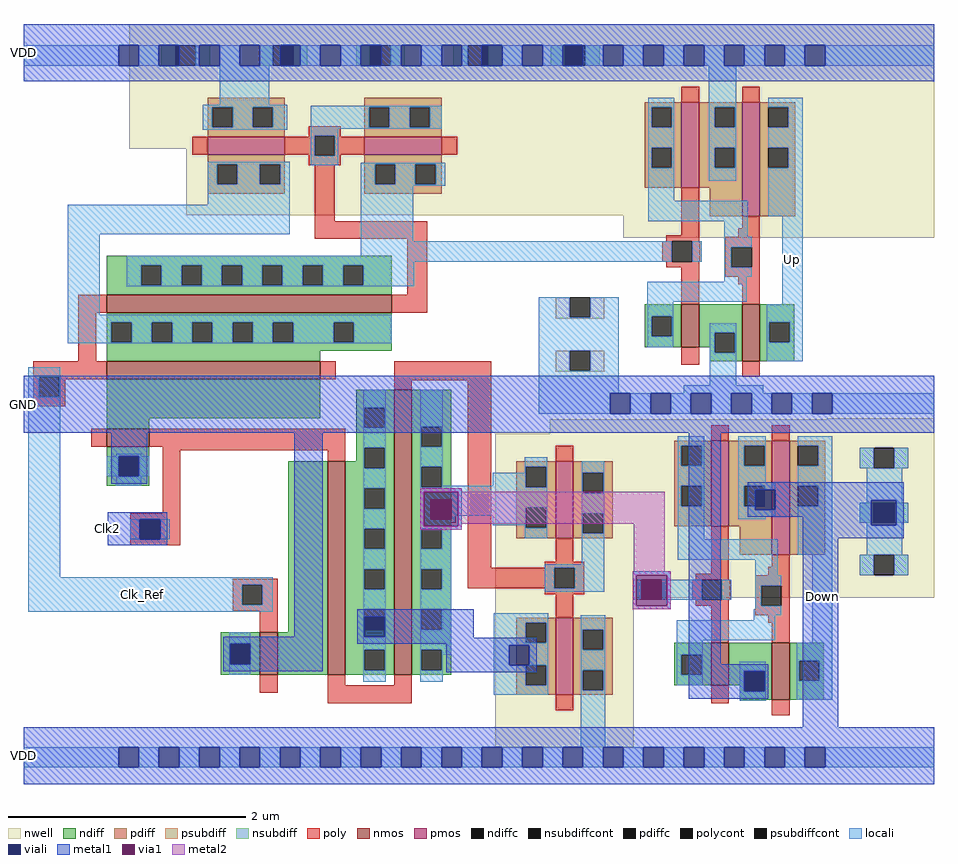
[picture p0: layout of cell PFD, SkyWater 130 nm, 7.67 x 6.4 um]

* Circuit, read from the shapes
.subckt PFD Clk_Ref Up Down Clk2 GND VDD
XM1 n1 Clk2 GND GND sky130_fd_pr__nfet_01v8 w=0.36 l=0.15
XM2 n2 Clk_Ref n1 GND sky130_fd_pr__nfet_01v8 w=1.8 l=0.15
XM3 n3 Clk_Ref n2 GND sky130_fd_pr__nfet_01v8 w=2.4 l=0.15
XM4 n4 Clk_Ref GND GND sky130_fd_pr__nfet_01v8 w=0.36 l=0.15
XM5 n5 Clk2 n4 GND sky130_fd_pr__nfet_01v8 w=1.8 l=0.15
XM6 n6 Clk2 n5 GND sky130_fd_pr__nfet_01v8 w=2.4 l=0.15
XM7 GND n3 n7 GND sky130_fd_pr__nfet_01v8 w=0.36 l=0.15
XM8 GND n6 n8 GND sky130_fd_pr__nfet_01v8 w=0.36 l=0.15
XM9 Up n7 GND GND sky130_fd_pr__nfet_01v8 w=0.48 l=0.15
XM10 Down n8 GND GND sky130_fd_pr__nfet_01v8 w=0.48 l=0.15
XM11 VDD Clk_Ref n2 VDD sky130_fd_pr__pfet_01v8 w=0.65 l=0.15
XM12 Clk_Ref Clk_Ref n3 VDD sky130_fd_pr__pfet_01v8 w=0.65 l=0.15
XM13 VDD Clk2 n5 VDD sky130_fd_pr__pfet_01v8 w=0.65 l=0.15
XM14 Clk2 Clk2 n6 VDD sky130_fd_pr__pfet_01v8 w=0.65 l=0.15
XM15 VDD n3 n7 VDD sky130_fd_pr__pfet_01v8 w=0.72 l=0.15
XM16 VDD n6 n8 VDD sky130_fd_pr__pfet_01v8 w=0.72 l=0.15
XM17 Up n7 VDD VDD sky130_fd_pr__pfet_01v8 w=0.96 l=0.15
XM18 Down n8 VDD VDD sky130_fd_pr__pfet_01v8 w=0.96 l=0.15
.ends

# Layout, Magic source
magic
tech sky130A
<< nwell >>
rect 89 535 767 640
rect 137 479 767 535
rect 505 460 767 479
rect 677 307 767 308
rect 443 295 767 307
rect 397 157 767 295
rect 397 31 514 157
<< nmos >>
rect 70 397 310 412
rect 554 368 569 404
rect 70 341 250 356
rect 605 356 620 404
rect 70 284 106 299
rect 199 92 214 128
rect 256 92 271 272
rect 312 92 327 332
rect 579 83 594 119
rect 630 71 645 119
<< pmos >>
rect 155 530 220 545
rect 287 530 352 545
rect 554 502 569 574
rect 605 478 620 574
rect 448 207 463 272
rect 579 217 594 289
rect 630 193 645 289
rect 448 75 463 140
<< ndiff >>
rect 70 437 310 445
rect 70 420 99 437
rect 116 420 133 437
rect 150 420 167 437
rect 184 420 201 437
rect 218 420 235 437
rect 252 420 269 437
rect 286 420 310 437
rect 70 412 310 420
rect 70 389 310 397
rect 523 394 554 404
rect 70 372 74 389
rect 91 372 108 389
rect 125 372 142 389
rect 159 372 176 389
rect 193 372 210 389
rect 227 372 261 389
rect 278 372 310 389
rect 70 365 310 372
rect 523 377 529 394
rect 546 377 554 394
rect 523 368 554 377
rect 569 380 605 404
rect 569 368 582 380
rect 70 356 250 365
rect 70 308 250 341
rect 578 363 582 368
rect 599 363 605 380
rect 578 356 605 363
rect 620 389 649 404
rect 620 372 628 389
rect 645 372 649 389
rect 620 356 649 372
rect 280 317 312 332
rect 70 299 106 308
rect 280 300 287 317
rect 304 300 312 317
rect 70 276 106 284
rect 70 259 80 276
rect 97 259 106 276
rect 70 251 106 259
rect 280 283 312 300
rect 280 272 287 283
rect 223 128 256 272
rect 166 118 199 128
rect 166 101 174 118
rect 191 101 199 118
rect 166 92 199 101
rect 214 92 256 128
rect 271 266 287 272
rect 304 266 312 283
rect 271 249 312 266
rect 271 232 287 249
rect 304 232 312 249
rect 271 215 312 232
rect 271 198 287 215
rect 304 198 312 215
rect 271 181 312 198
rect 271 164 287 181
rect 304 164 312 181
rect 271 147 312 164
rect 271 130 287 147
rect 304 130 312 147
rect 271 113 312 130
rect 271 96 287 113
rect 304 96 312 113
rect 271 92 312 96
rect 327 301 360 332
rect 327 284 335 301
rect 352 284 360 301
rect 327 267 360 284
rect 327 250 335 267
rect 352 250 360 267
rect 327 215 360 250
rect 327 198 335 215
rect 352 198 360 215
rect 327 181 360 198
rect 327 164 335 181
rect 352 164 360 181
rect 327 147 360 164
rect 327 130 335 147
rect 352 130 360 147
rect 327 113 360 130
rect 327 96 335 113
rect 352 96 360 113
rect 327 92 360 96
rect 548 109 579 119
rect 548 92 554 109
rect 571 92 579 109
rect 548 83 579 92
rect 594 95 630 119
rect 594 83 607 95
rect 603 78 607 83
rect 624 78 630 95
rect 603 71 630 78
rect 645 104 674 119
rect 645 87 653 104
rect 670 87 674 104
rect 645 71 674 87
<< pdiff >>
rect 155 570 220 578
rect 155 553 159 570
rect 176 553 193 570
rect 210 553 220 570
rect 287 570 352 578
rect 155 545 220 553
rect 155 522 220 530
rect 155 505 163 522
rect 180 505 199 522
rect 216 505 220 522
rect 287 553 291 570
rect 308 553 325 570
rect 342 553 352 570
rect 287 545 352 553
rect 523 570 554 574
rect 523 553 529 570
rect 546 553 554 570
rect 523 536 554 553
rect 287 522 352 530
rect 155 497 220 505
rect 287 505 296 522
rect 313 505 330 522
rect 347 505 352 522
rect 287 497 352 505
rect 523 519 529 536
rect 546 519 554 536
rect 523 502 554 519
rect 569 570 605 574
rect 569 553 582 570
rect 599 553 605 570
rect 569 536 605 553
rect 569 519 582 536
rect 599 519 605 536
rect 569 502 605 519
rect 578 478 605 502
rect 620 570 650 574
rect 620 553 627 570
rect 644 553 650 570
rect 620 536 650 553
rect 620 519 627 536
rect 644 519 650 536
rect 620 478 650 519
rect 548 285 579 289
rect 415 267 448 272
rect 415 250 423 267
rect 440 250 448 267
rect 415 233 448 250
rect 415 216 423 233
rect 440 216 448 233
rect 415 207 448 216
rect 463 262 496 272
rect 463 245 471 262
rect 488 245 496 262
rect 463 228 496 245
rect 463 211 471 228
rect 488 211 496 228
rect 548 268 554 285
rect 571 268 579 285
rect 548 251 579 268
rect 548 234 554 251
rect 571 234 579 251
rect 548 217 579 234
rect 594 285 630 289
rect 594 268 607 285
rect 624 268 630 285
rect 594 251 630 268
rect 594 234 607 251
rect 624 234 630 251
rect 594 217 630 234
rect 463 207 496 211
rect 603 193 630 217
rect 645 285 675 289
rect 645 268 652 285
rect 669 268 675 285
rect 645 251 675 268
rect 645 234 652 251
rect 669 234 675 251
rect 645 193 675 234
rect 415 136 448 140
rect 415 119 423 136
rect 440 119 448 136
rect 415 100 448 119
rect 415 83 423 100
rect 440 83 448 100
rect 415 75 448 83
rect 463 130 496 140
rect 463 113 471 130
rect 488 113 496 130
rect 463 96 496 113
rect 463 79 471 96
rect 488 79 496 96
rect 463 75 496 79
<< ndiffc >>
rect 99 420 116 437
rect 133 420 150 437
rect 167 420 184 437
rect 201 420 218 437
rect 235 420 252 437
rect 269 420 286 437
rect 74 372 91 389
rect 108 372 125 389
rect 142 372 159 389
rect 176 372 193 389
rect 210 372 227 389
rect 261 372 278 389
rect 529 377 546 394
rect 582 363 599 380
rect 628 372 645 389
rect 287 300 304 317
rect 80 259 97 276
rect 174 101 191 118
rect 287 266 304 283
rect 287 232 304 249
rect 287 198 304 215
rect 287 164 304 181
rect 287 130 304 147
rect 287 96 304 113
rect 335 284 352 301
rect 335 250 352 267
rect 335 198 352 215
rect 335 164 352 181
rect 335 130 352 147
rect 335 96 352 113
rect 554 92 571 109
rect 607 78 624 95
rect 653 87 670 104
<< pdiffc >>
rect 159 553 176 570
rect 193 553 210 570
rect 163 505 180 522
rect 199 505 216 522
rect 291 553 308 570
rect 325 553 342 570
rect 529 553 546 570
rect 296 505 313 522
rect 330 505 347 522
rect 529 519 546 536
rect 582 553 599 570
rect 582 519 599 536
rect 627 553 644 570
rect 627 519 644 536
rect 423 250 440 267
rect 423 216 440 233
rect 471 245 488 262
rect 471 211 488 228
rect 554 268 571 285
rect 554 234 571 251
rect 607 268 624 285
rect 607 234 624 251
rect 652 268 669 285
rect 652 234 669 251
rect 423 119 440 136
rect 423 83 440 100
rect 471 113 488 130
rect 471 79 488 96
<< psubdiff >>
rect 448 393 460 410
rect 477 393 489 410
rect 448 392 489 393
rect 448 348 460 365
rect 477 348 489 365
rect 448 347 489 348
<< nsubdiff >>
rect 116 605 128 622
rect 145 605 157 622
rect 198 605 210 622
rect 227 605 239 622
rect 280 605 292 622
rect 309 605 321 622
rect 362 605 374 622
rect 391 605 403 622
rect 444 605 456 622
rect 473 605 485 622
rect 704 266 716 283
rect 733 266 745 283
rect 704 220 716 237
rect 733 220 745 237
rect 704 176 716 193
rect 733 176 745 193
<< psubdiffcont >>
rect 460 393 477 410
rect 460 348 477 365
<< nsubdiffcont >>
rect 128 605 145 622
rect 210 605 227 622
rect 292 605 309 622
rect 374 605 391 622
rect 456 605 473 622
rect 716 266 733 283
rect 716 220 733 237
rect 716 176 733 193
<< poly >>
rect 554 574 569 587
rect 605 574 620 587
rect 240 546 267 554
rect 240 545 245 546
rect 142 530 155 545
rect 220 530 245 545
rect 240 529 245 530
rect 262 545 267 546
rect 262 530 287 545
rect 352 530 365 545
rect 262 529 267 530
rect 240 521 267 529
rect 245 474 262 521
rect 245 459 340 474
rect 554 462 569 502
rect 605 468 620 478
rect 323 412 340 459
rect 541 457 569 462
rect 602 461 620 468
rect 538 440 546 457
rect 563 440 570 457
rect 591 452 620 461
rect 541 435 569 440
rect 46 397 70 412
rect 310 397 340 412
rect 46 356 61 397
rect 554 404 569 435
rect 591 435 596 452
rect 613 435 620 452
rect 591 427 620 435
rect 602 421 620 427
rect 605 404 620 421
rect 8 343 70 356
rect 8 326 13 343
rect 30 341 70 343
rect 250 341 263 356
rect 30 326 35 341
rect 8 318 35 326
rect 312 340 394 356
rect 554 353 569 368
rect 605 343 620 356
rect 312 332 327 340
rect 57 284 70 299
rect 106 284 271 299
rect 117 281 271 284
rect 117 228 132 281
rect 256 272 271 281
rect 90 223 132 228
rect 90 206 98 223
rect 115 206 132 223
rect 90 201 132 206
rect 176 168 214 173
rect 176 151 184 168
rect 201 151 214 168
rect 176 146 214 151
rect 199 128 214 146
rect 374 182 394 340
rect 579 289 594 302
rect 630 289 645 302
rect 448 272 463 285
rect 448 187 463 207
rect 439 182 472 187
rect 374 165 447 182
rect 464 165 472 182
rect 579 177 594 217
rect 630 183 645 193
rect 566 172 594 177
rect 627 176 645 183
rect 439 160 472 165
rect 448 140 463 160
rect 563 155 571 172
rect 588 155 595 172
rect 616 167 645 176
rect 566 150 594 155
rect 199 77 214 92
rect 256 83 271 92
rect 312 83 327 92
rect 256 68 327 83
rect 579 119 594 150
rect 616 150 621 167
rect 638 150 645 167
rect 616 142 645 150
rect 627 136 645 142
rect 630 119 645 136
rect 448 62 463 75
rect 579 68 594 83
rect 630 58 645 71
<< polycont >>
rect 245 529 262 546
rect 546 440 563 457
rect 596 435 613 452
rect 13 326 30 343
rect 98 206 115 223
rect 184 151 201 168
rect 447 165 464 182
rect 571 155 588 172
rect 621 150 638 167
<< locali >>
rect 0 605 80 622
rect 97 605 114 622
rect 145 605 148 622
rect 165 605 182 622
rect 199 605 210 622
rect 233 605 250 622
rect 267 605 284 622
rect 309 605 318 622
rect 335 605 352 622
rect 369 605 374 622
rect 403 605 420 622
rect 437 605 454 622
rect 473 605 488 622
rect 505 605 522 622
rect 539 605 556 622
rect 573 605 590 622
rect 607 605 624 622
rect 641 605 658 622
rect 675 605 767 622
rect 165 572 207 605
rect 151 570 222 572
rect 151 553 159 570
rect 176 553 193 570
rect 210 553 222 570
rect 151 551 222 553
rect 242 570 352 571
rect 242 553 291 570
rect 308 553 325 570
rect 342 553 352 570
rect 242 552 352 553
rect 526 570 548 578
rect 526 553 529 570
rect 546 553 548 570
rect 242 546 265 552
rect 242 529 245 546
rect 262 529 265 546
rect 155 522 224 524
rect 155 505 163 522
rect 180 505 199 522
rect 216 505 224 522
rect 242 521 265 529
rect 526 536 548 553
rect 284 522 355 523
rect 155 488 224 505
rect 37 463 224 488
rect 284 505 296 522
rect 313 505 330 522
rect 347 505 355 522
rect 284 504 355 505
rect 526 519 529 536
rect 546 519 548 536
rect 37 395 64 463
rect 284 457 328 504
rect 526 491 548 519
rect 577 570 600 605
rect 577 553 582 570
rect 599 553 600 570
rect 577 536 600 553
rect 577 519 582 536
rect 599 519 600 536
rect 577 508 600 519
rect 627 570 656 578
rect 644 553 656 570
rect 627 536 656 553
rect 644 519 656 536
rect 526 474 610 491
rect 627 478 656 519
rect 590 461 610 474
rect 284 445 546 457
rect 87 440 546 445
rect 563 440 571 457
rect 590 452 613 461
rect 87 437 329 440
rect 87 420 99 437
rect 116 420 133 437
rect 150 420 167 437
rect 184 420 201 437
rect 218 420 235 437
rect 252 420 269 437
rect 286 420 329 437
rect 590 435 596 452
rect 590 427 613 435
rect 590 423 609 427
rect 87 419 329 420
rect 37 389 310 395
rect 37 372 74 389
rect 91 372 108 389
rect 125 372 142 389
rect 159 372 176 389
rect 193 372 210 389
rect 227 372 261 389
rect 278 372 310 389
rect 37 371 310 372
rect 434 393 460 410
rect 477 393 501 410
rect 434 365 501 393
rect 525 406 609 423
rect 525 394 547 406
rect 639 404 656 478
rect 525 377 529 394
rect 546 377 547 394
rect 626 389 656 404
rect 525 368 547 377
rect 578 380 600 388
rect 4 343 31 351
rect 4 326 13 343
rect 30 326 31 343
rect 434 348 460 365
rect 477 348 501 365
rect 4 174 31 326
rect 286 317 305 332
rect 286 300 287 317
rect 304 300 305 317
rect 286 283 305 300
rect 78 276 99 278
rect 70 259 80 276
rect 97 259 106 276
rect 286 266 287 283
rect 304 266 305 283
rect 78 251 99 259
rect 286 249 305 266
rect 286 232 287 249
rect 304 232 305 249
rect 90 206 98 223
rect 115 206 123 223
rect 286 215 305 232
rect 286 198 287 215
rect 304 198 305 215
rect 286 181 305 198
rect 4 168 210 174
rect 4 151 184 168
rect 201 151 210 168
rect 4 145 210 151
rect 286 164 287 181
rect 304 164 305 181
rect 286 147 305 164
rect 173 118 191 128
rect 173 101 174 118
rect 173 92 191 101
rect 286 124 287 147
rect 304 124 305 147
rect 286 113 305 124
rect 286 96 287 113
rect 304 96 305 113
rect 286 86 305 96
rect 334 301 353 332
rect 434 329 501 348
rect 578 363 582 380
rect 599 363 600 380
rect 578 336 600 363
rect 626 372 628 389
rect 645 372 656 389
rect 626 356 656 372
rect 556 329 623 336
rect 434 312 494 329
rect 511 312 528 329
rect 545 312 562 329
rect 579 312 596 329
rect 613 312 630 329
rect 647 312 664 329
rect 681 312 767 329
rect 334 284 335 301
rect 352 284 353 301
rect 334 267 353 284
rect 551 285 573 293
rect 334 250 335 267
rect 352 251 353 267
rect 422 267 441 275
rect 422 262 423 267
rect 395 251 423 262
rect 352 250 423 251
rect 440 250 441 267
rect 334 240 441 250
rect 334 223 343 240
rect 360 233 441 240
rect 360 226 423 233
rect 360 223 364 226
rect 334 220 364 223
rect 334 215 360 220
rect 395 218 423 226
rect 334 198 335 215
rect 352 198 360 215
rect 422 216 423 218
rect 440 216 441 233
rect 422 207 441 216
rect 470 262 489 272
rect 470 245 471 262
rect 488 245 489 262
rect 470 228 489 245
rect 470 211 471 228
rect 488 211 489 228
rect 334 181 360 198
rect 470 185 489 211
rect 551 268 554 285
rect 571 268 573 285
rect 551 251 573 268
rect 551 234 554 251
rect 571 234 573 251
rect 551 206 573 234
rect 602 285 625 293
rect 602 268 607 285
rect 624 268 625 285
rect 602 254 625 268
rect 652 285 681 293
rect 669 268 681 285
rect 602 251 633 254
rect 602 234 607 251
rect 624 248 633 251
rect 602 231 616 234
rect 602 225 633 231
rect 652 251 681 268
rect 704 266 716 283
rect 733 266 745 283
rect 669 234 681 251
rect 710 239 740 266
rect 710 237 714 239
rect 735 237 740 239
rect 602 223 625 225
rect 551 189 635 206
rect 652 193 681 234
rect 704 220 714 237
rect 735 220 745 237
rect 710 218 714 220
rect 735 218 740 220
rect 710 193 740 218
rect 334 164 335 181
rect 352 164 360 181
rect 334 147 360 164
rect 439 182 489 185
rect 439 165 447 182
rect 464 165 489 182
rect 616 176 635 189
rect 439 162 489 165
rect 514 155 520 172
rect 537 155 571 172
rect 588 155 596 172
rect 616 167 638 176
rect 616 150 621 167
rect 616 147 638 150
rect 334 130 335 147
rect 352 130 360 147
rect 334 113 360 130
rect 334 96 335 113
rect 352 109 360 113
rect 396 136 442 144
rect 615 142 638 147
rect 396 119 423 136
rect 440 119 442 136
rect 396 117 442 119
rect 352 96 353 109
rect 334 86 353 96
rect 396 100 409 117
rect 426 100 442 117
rect 396 83 423 100
rect 440 83 442 100
rect 396 75 442 83
rect 469 130 490 142
rect 615 138 633 142
rect 469 113 471 130
rect 488 113 490 130
rect 469 96 490 113
rect 469 79 471 96
rect 488 79 490 96
rect 550 121 633 138
rect 550 109 572 121
rect 664 119 681 193
rect 704 176 716 193
rect 733 176 745 193
rect 550 92 554 109
rect 571 92 572 109
rect 651 104 681 119
rect 550 83 572 92
rect 603 95 625 103
rect 469 31 490 79
rect 603 78 607 95
rect 624 78 625 95
rect 603 70 625 78
rect 651 87 653 104
rect 670 87 681 104
rect 651 71 681 87
rect 0 14 80 31
rect 97 14 114 31
rect 131 14 148 31
rect 165 14 182 31
rect 199 14 216 31
rect 233 14 250 31
rect 267 14 284 31
rect 301 14 318 31
rect 335 14 352 31
rect 369 14 386 31
rect 403 14 420 31
rect 437 14 454 31
rect 471 14 488 31
rect 505 14 522 31
rect 539 14 556 31
rect 573 14 590 31
rect 607 14 624 31
rect 641 14 658 31
rect 675 14 767 31
<< viali >>
rect 80 605 97 622
rect 114 605 128 622
rect 128 605 131 622
rect 148 605 165 622
rect 182 605 199 622
rect 216 605 227 622
rect 227 605 233 622
rect 250 605 267 622
rect 284 605 292 622
rect 292 605 301 622
rect 318 605 335 622
rect 352 605 369 622
rect 386 605 391 622
rect 391 605 403 622
rect 420 605 437 622
rect 454 605 456 622
rect 456 605 471 622
rect 488 605 505 622
rect 522 605 539 622
rect 556 605 573 622
rect 590 605 607 622
rect 624 605 641 622
rect 658 605 675 622
rect 80 259 97 276
rect 98 206 115 223
rect 174 101 191 118
rect 287 130 304 141
rect 287 124 304 130
rect 494 312 511 329
rect 528 312 545 329
rect 562 312 579 329
rect 596 312 613 329
rect 630 312 647 329
rect 664 312 681 329
rect 343 223 360 240
rect 616 234 624 248
rect 624 234 633 248
rect 616 231 633 234
rect 714 237 735 239
rect 714 220 716 237
rect 716 220 733 237
rect 733 220 735 237
rect 714 218 735 220
rect 520 155 537 172
rect 409 100 426 117
rect 607 78 624 95
rect 80 14 97 31
rect 114 14 131 31
rect 148 14 165 31
rect 182 14 199 31
rect 216 14 233 31
rect 250 14 267 31
rect 284 14 301 31
rect 318 14 335 31
rect 352 14 369 31
rect 386 14 403 31
rect 420 14 437 31
rect 454 14 471 31
rect 488 14 505 31
rect 522 14 539 31
rect 556 14 573 31
rect 590 14 607 31
rect 624 14 641 31
rect 658 14 675 31
<< metal1 >>
rect 0 622 767 640
rect 0 605 80 622
rect 97 605 114 622
rect 131 605 148 622
rect 165 605 182 622
rect 199 605 216 622
rect 233 605 250 622
rect 267 605 284 622
rect 301 605 318 622
rect 335 605 352 622
rect 369 605 386 622
rect 403 605 420 622
rect 437 605 454 622
rect 471 605 488 622
rect 505 605 522 622
rect 539 605 556 622
rect 573 605 590 622
rect 607 605 624 622
rect 641 605 658 622
rect 675 605 767 622
rect 0 592 767 605
rect 0 329 767 344
rect 0 312 494 329
rect 511 312 528 329
rect 545 312 562 329
rect 579 312 596 329
rect 613 312 630 329
rect 647 312 664 329
rect 681 312 767 329
rect 0 296 767 312
rect 74 276 104 296
rect 74 259 80 276
rect 97 259 104 276
rect 74 253 104 259
rect 71 223 121 229
rect 71 206 98 223
rect 115 206 121 223
rect 71 201 121 206
rect 228 124 252 296
rect 334 246 369 249
rect 334 217 337 246
rect 366 217 369 246
rect 334 214 369 217
rect 513 176 545 179
rect 513 150 516 176
rect 542 150 545 176
rect 513 147 545 150
rect 168 118 252 124
rect 281 141 379 147
rect 281 124 287 141
rect 304 124 379 141
rect 281 123 379 124
rect 281 118 432 123
rect 168 101 174 118
rect 191 101 252 118
rect 168 95 252 101
rect 356 117 432 118
rect 356 100 409 117
rect 426 100 432 117
rect 356 94 432 100
rect 560 101 587 296
rect 610 248 741 254
rect 610 231 616 248
rect 633 239 741 248
rect 633 231 714 239
rect 610 225 714 231
rect 656 218 714 225
rect 735 218 741 239
rect 656 207 741 218
rect 560 95 627 101
rect 560 78 607 95
rect 624 78 627 95
rect 560 72 627 78
rect 656 48 686 207
rect 0 31 767 48
rect 0 14 80 31
rect 97 14 114 31
rect 131 14 148 31
rect 165 14 182 31
rect 199 14 216 31
rect 233 14 250 31
rect 267 14 284 31
rect 301 14 318 31
rect 335 14 352 31
rect 369 14 386 31
rect 403 14 420 31
rect 437 14 454 31
rect 471 14 488 31
rect 505 14 522 31
rect 539 14 556 31
rect 573 14 590 31
rect 607 14 624 31
rect 641 14 658 31
rect 675 14 767 31
rect 0 0 767 14
<< via1 >>
rect 337 240 366 246
rect 337 223 343 240
rect 343 223 360 240
rect 360 223 366 240
rect 337 217 366 223
rect 516 172 542 176
rect 516 155 520 172
rect 520 155 537 172
rect 537 155 542 172
rect 516 150 542 155
<< metal2 >>
rect 334 246 369 249
rect 334 217 337 246
rect 366 219 540 246
rect 366 217 369 219
rect 334 214 369 217
rect 514 179 540 219
rect 513 176 545 179
rect 513 150 516 176
rect 542 150 545 176
rect 513 147 545 150
<< labels >>
rlabel locali 664 149 681 166 1 Down
port 8 n signal output
rlabel locali 639 433 656 450 3 Up
port 7 n signal output
rlabel metal1 71 201 71 229 1 Clk2
port 9 n signal input
rlabel metal1 0 296 0 344 1 GND
port 11 n ground bidirectional
rlabel metal1 0 592 0 640 3 VDD
port 12 e power bidirectional
rlabel metal1 0 0 0 48 3 VDD
port 12 e power bidirectional
rlabel locali 87 146 114 173 1 Clk_Ref
port 3 n signal input
<< properties >>
string LEFclass CORE
string LEFsite unithddb1
<< end >>
